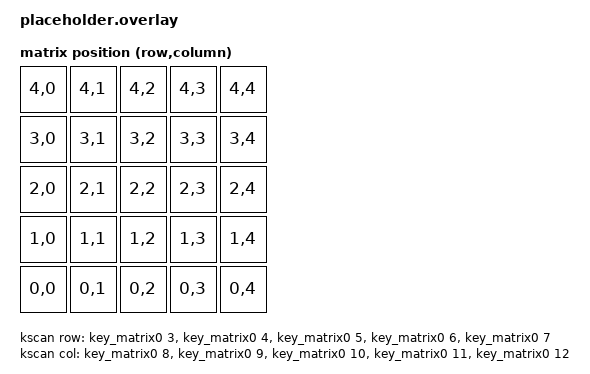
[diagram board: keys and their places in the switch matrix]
#include <dt-bindings/zmk/matrix_transform.h>
#include <dt-bindings/pinctrl/rpi-pico-rp2040-pinctrl.h>

/ {
	chosen {
		zmk,kscan = &kscan;
		zmk,matrix_transform = &transform;
	};

	transform: transform {
		compatible = "zmk,matrix-transform";
		rows = <5>;
		columns = <5>;
		map = <
			RC(4,0) RC(4,1) RC(4,2) RC(4,3) RC(4,4)
			RC(3,0) RC(3,1) RC(3,2) RC(3,3) RC(3,4)
			RC(2,0) RC(2,1) RC(2,2) RC(2,3) RC(2,4)
			RC(1,0) RC(1,1) RC(1,2) RC(1,3) RC(1,4)
			RC(0,0) RC(0,1) RC(0,2) RC(0,3) RC(0,4)
		>;
	};

	kscan: kscan {
		compatible = "zmk,kscan-gpio-matrix";
		diode-direction = "row2col";
		poll-period-ms = <1>;
		label = "kscan";

		row-gpios
		=	<&key_matrix0 3  (GPIO_ACTIVE_HIGH)>
		,	<&key_matrix0 4  (GPIO_ACTIVE_HIGH)>
		,	<&key_matrix0 5  (GPIO_ACTIVE_HIGH)>
		,	<&key_matrix0 6  (GPIO_ACTIVE_HIGH)>
		,	<&key_matrix0 7  (GPIO_ACTIVE_HIGH)>;
		col-gpios
		=	<&key_matrix0 8  (GPIO_ACTIVE_HIGH)>
		,	<&key_matrix0 9  (GPIO_ACTIVE_HIGH)>
		,	<&key_matrix0 10 (GPIO_ACTIVE_HIGH)>
		,	<&key_matrix0 11 (GPIO_ACTIVE_HIGH)>
		,	<&key_matrix0 12 (GPIO_ACTIVE_HIGH)>;
	};
};

&i2c0 {
	status = "ok";
	clock-frequency = <400000>;

	key_matrix0: pca95xx@0x20 {
		compatible = "nxp,pca95xx";

		reg = <0x20>;
		label = "tca6416";

		gpio-controller;
		#gpio-cells = <2>;
		ngpios = <16>;
	};
};

&pinctrl {
	i2c0_default: i2c0_default {
		group1 {
			pinmux = <I2C0_SDA_P16>, <I2C0_SCL_P17>;
			slew-rate = <0>;
			bias-pull-up;
			input-enable;
			input-schmitt-enable;
		};
	};
};
